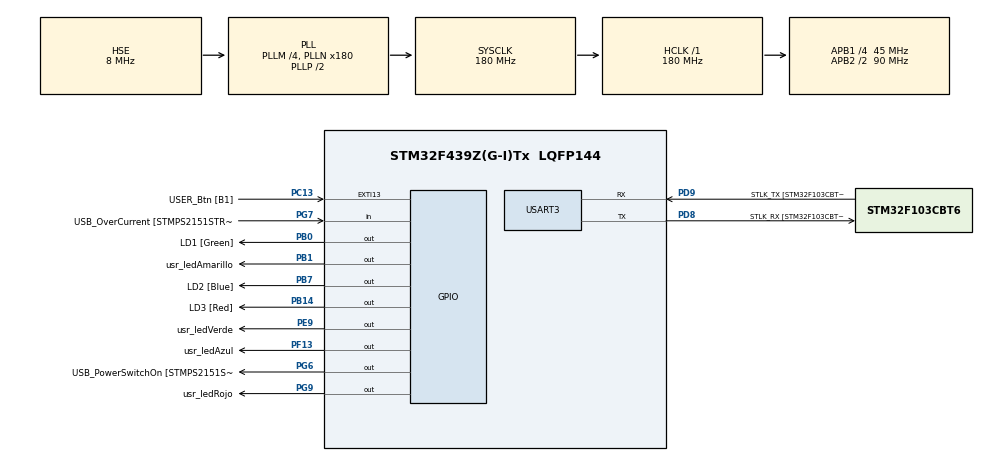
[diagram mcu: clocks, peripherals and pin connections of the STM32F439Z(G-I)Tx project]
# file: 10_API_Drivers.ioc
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Mcu.Family=STM32F4
Mcu.Name=STM32F439Z(G-I)Tx
Mcu.Package=LQFP144
NVIC.PriorityGroup=NVIC_PRIORITYGROUP_4
PA13.GPIO_Label=TMS
PA13.Mode=Serial_Wire
PA13.Signal=SYS_JTMS-SWDIO
PA14.GPIO_Label=TCK
PA14.Mode=Serial_Wire
PA14.Signal=SYS_JTCK-SWCLK
PB0.GPIO_Label=LD1 [Green]
PB0.Signal=GPIO_Output
PB1.GPIO_Label=usr_ledAmarillo
PB1.Signal=GPIO_Output
PB14.GPIO_Label=LD3 [Red]
PB14.Signal=GPIO_Output
PB7.GPIO_Label=LD2 [Blue]
PB7.Signal=GPIO_Output
PC13.GPIO_Label=USER_Btn [B1]
PC13.Signal=GPXTI13
PC14/OSC32_IN.Mode=LSE-External-Oscillator
PC14/OSC32_IN.Signal=RCC_OSC32_IN
PC15/OSC32_OUT.Mode=LSE-External-Oscillator
PC15/OSC32_OUT.Signal=RCC_OSC32_OUT
PD8.GPIO_Label=STLK_RX [STM32F103CBT6_PA3]
PD8.Mode=Asynchronous
PD8.Signal=USART3_TX
PD9.GPIO_Label=STLK_TX [STM32F103CBT6_PA2]
PD9.Mode=Asynchronous
PD9.Signal=USART3_RX
PE9.GPIO_Label=usr_ledVerde
PE9.Signal=GPIO_Output
PF13.GPIO_Label=usr_ledAzul
PF13.Signal=GPIO_Output
PG6.GPIO_Label=USB_PowerSwitchOn [STMPS2151STR_EN]
PG6.Signal=GPIO_Output
PG7.GPIO_Label=USB_OverCurrent [STMPS2151STR_FAULT]
PG7.Signal=GPIO_Input
PG9.GPIO_Label=usr_ledRojo
PG9.Signal=GPIO_Output
PH0/OSC_IN.GPIO_Label=MCO [STM32F103CBT6_PA8]
PH0/OSC_IN.Mode=HSE-External-Oscillator
PH0/OSC_IN.Signal=RCC_OSC_IN
PH1/OSC_OUT.Mode=HSE-External-Oscillator
PH1/OSC_OUT.Signal=RCC_OSC_OUT
ProjectManager.HeapSize=0x200
ProjectManager.StackSize=0x400
ProjectManager.TargetToolchain=STM32CubeIDE
RCC.48MHZClocksFreq_Value=51428571.428571425
RCC.AHBFreq_Value=180000000
RCC.APB1CLKDivider=RCC_HCLK_DIV4
RCC.APB1Freq_Value=45000000
RCC.APB1TimFreq_Value=90000000
RCC.APB2CLKDivider=RCC_HCLK_DIV2
RCC.APB2Freq_Value=90000000
RCC.APB2TimFreq_Value=180000000
RCC.CortexFreq_Value=180000000
RCC.HCLKFreq_Value=180000000
RCC.HSE_VALUE=8000000
RCC.HSI_VALUE=16000000
RCC.PLLM=4
RCC.PLLMUL=RCC_PLL_MUL9
RCC.PLLN=180
RCC.PLLQ=7
RCC.PLLSourceVirtual=RCC_PLLSOURCE_HSE
RCC.PRESCALERUSB=RCC_USBCLKSOURCE_PLL_DIV1_5
RCC.SYSCLKFreq_VALUE=180000000
RCC.SYSCLKSource=RCC_SYSCLKSOURCE_PLLCLK
RCC.SYSCLKSourceVirtual=RCC_SYSCLKSOURCE_PLLCLK
RCC.USBFreq_Value=48000000
RCC.VCOOutputFreq_Value=360000000
USART3.VirtualMode=VM_ASYNC
board=NUCLEO-F439ZI

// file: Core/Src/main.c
/* USER CODE BEGIN Header */
/**
  ******************************************************************************
  * @file           : main.c
  * @brief          : Main program body
  ******************************************************************************
  * @attention
  *
  * Copyright (c) 2026 STMicroelectronics.
  * All rights reserved.
  *
  * This software is licensed under terms that can be found in the LICENSE file
  * in the root directory of this software component.
  * If no LICENSE file comes with this software, it is provided AS-IS.
  *
  ******************************************************************************
  */
/* USER CODE END Header */
#include "main.h"

/* USER CODE BEGIN Includes */
#include "API_delay.h"
#include "API_led.h"
#include <stdio.h>
#include <string.h>
/* USER CODE END Includes */

/* USER CODE BEGIN PTD */

//Usamos etiquetas para evitar hardcodear
#define delay1 250
#define delay4 500
#define delayUSART 1000
/* USER CODE END PTD */

UART_HandleTypeDef huart3;

/* USER CODE BEGIN PV */

//-----------Definicion de Instancias--------------

// Definimos los objetos LED (Abstracción Genérica)
led_t ledRojo = {GPIOG, GPIO_PIN_9, false};
led_t ledAmarillo = {GPIOB, GPIO_PIN_1};
led_t ledVerde  = {GPIOE, GPIO_PIN_9,  false};
led_t ledAzul  = {GPIOF, GPIO_PIN_13, false};

// Definimos los objetos de retardo (No bloqueantes)
delay_t delayVerde;
delay_t delayAzul;
delay_t delayUART;

/* USER CODE END PV */

void SystemClock_Config(void);
static void MX_GPIO_Init(void);
static void MX_USART3_UART_Init(void);
/* USER CODE BEGIN PFP */

void Debug_Log(const char *msg);

/* USER CODE END PFP */

/* USER CODE BEGIN 0 */

/**
 * @brief Envía un mensaje por UART3 de forma simplificada.
 * @param msg Cadena de texto a transmitir.
 */
void Debug_Log(const char *msg) {
    HAL_UART_Transmit(&huart3, (uint8_t*)msg, strlen(msg), 100);
}

/* USER CODE END 0 */

int main(void)
{

  /* MCU Configuration--------------------------------------------------------*/

  /* Reset of all peripherals, Initializes the Flash interface and the Systick. */
  HAL_Init();

  /* Configure the system clock */
  SystemClock_Config();

  /* Initialize all configured peripherals */
  MX_GPIO_Init();
  MX_USART3_UART_Init();
  /* USER CODE BEGIN 2 */

  // Inicializamos los retardos con diferentes frecuencias
  	delayInit(&delayVerde, delay1);		//250ms
    delayInit(&delayAzul, delay4);    	//5000ms
    delayInit(&delayUART, delayUSART);   // 1 segundos

    // Mensajes de inicialización del sistema
      Debug_Log("\r\n==================================\r\n");
      Debug_Log("SISTEMA INICIALIZADO\r\n");
      Debug_Log("Proyecto: Creacion de API_Drivers\r\n");
      Debug_Log("Placa: Nucleo-F439ZI\r\n");
      Debug_Log("==================================\r\n");

  /* USER CODE END 2 */

  /* Infinite loop */
  while (1)
  {

    /* USER CODE BEGIN 3 */

	  // Tarea 1: LED Verde
	          if (delayRead(&delayVerde)) {
	              LED_Toggle(&ledVerde);
	          }

	          // Tarea 2: LED Azul
	          if (delayRead(&delayAzul)) {
	              LED_Toggle(&ledAzul);
	          }

	          // Tarea 3: LED Rojo + Mensaje UART
	          if (delayRead(&delayUART)) {
	              LED_Toggle(&ledRojo);
	              Debug_Log("SISTEMA OK: Ciclo de 1 segundo completado\r\n");
	          }
  }
  /* USER CODE END 3 */
}

void SystemClock_Config(void)
{
  RCC_OscInitTypeDef RCC_OscInitStruct = {0};
  RCC_ClkInitTypeDef RCC_ClkInitStruct = {0};

  /** Configure the main internal regulator output voltage
  */
  __HAL_RCC_PWR_CLK_ENABLE();
  __HAL_PWR_VOLTAGESCALING_CONFIG(PWR_REGULATOR_VOLTAGE_SCALE1);

  /** Initializes the RCC Oscillators according to the specified parameters
  * in the RCC_OscInitTypeDef structure.
  */
  RCC_OscInitStruct.OscillatorType = RCC_OSCILLATORTYPE_HSE;
  RCC_OscInitStruct.HSEState = RCC_HSE_ON;
  RCC_OscInitStruct.PLL.PLLState = RCC_PLL_ON;
  RCC_OscInitStruct.PLL.PLLSource = RCC_PLLSOURCE_HSE;
  RCC_OscInitStruct.PLL.PLLM = 4;
  RCC_OscInitStruct.PLL.PLLN = 180;
  RCC_OscInitStruct.PLL.PLLP = RCC_PLLP_DIV2;
  RCC_OscInitStruct.PLL.PLLQ = 7;
  if (HAL_RCC_OscConfig(&RCC_OscInitStruct) != HAL_OK)
  {
    Error_Handler();
  }

  /** Activate the Over-Drive mode
  */
  if (HAL_PWREx_EnableOverDrive() != HAL_OK)
  {
    Error_Handler();
  }

  /** Initializes the CPU, AHB and APB buses clocks
  */
  RCC_ClkInitStruct.ClockType = RCC_CLOCKTYPE_HCLK|RCC_CLOCKTYPE_SYSCLK
                              |RCC_CLOCKTYPE_PCLK1|RCC_CLOCKTYPE_PCLK2;
  RCC_ClkInitStruct.SYSCLKSource = RCC_SYSCLKSOURCE_PLLCLK;
  RCC_ClkInitStruct.AHBCLKDivider = RCC_SYSCLK_DIV1;
  RCC_ClkInitStruct.APB1CLKDivider = RCC_HCLK_DIV4;
  RCC_ClkInitStruct.APB2CLKDivider = RCC_HCLK_DIV2;

  if (HAL_RCC_ClockConfig(&RCC_ClkInitStruct, FLASH_LATENCY_5) != HAL_OK)
  {
    Error_Handler();
  }
}

static void MX_USART3_UART_Init(void)
{

  huart3.Instance = USART3;
  huart3.Init.BaudRate = 115200;
  huart3.Init.WordLength = UART_WORDLENGTH_8B;
  huart3.Init.StopBits = UART_STOPBITS_1;
  huart3.Init.Parity = UART_PARITY_NONE;
  huart3.Init.Mode = UART_MODE_TX_RX;
  huart3.Init.HwFlowCtl = UART_HWCONTROL_NONE;
  huart3.Init.OverSampling = UART_OVERSAMPLING_16;
  if (HAL_UART_Init(&huart3) != HAL_OK)
  {
    Error_Handler();
  }

}

static void MX_GPIO_Init(void)
{
  GPIO_InitTypeDef GPIO_InitStruct = {0};

  /* GPIO Ports Clock Enable */
  __HAL_RCC_GPIOC_CLK_ENABLE();
  __HAL_RCC_GPIOH_CLK_ENABLE();
  __HAL_RCC_GPIOB_CLK_ENABLE();
  __HAL_RCC_GPIOF_CLK_ENABLE();
  __HAL_RCC_GPIOE_CLK_ENABLE();
  __HAL_RCC_GPIOD_CLK_ENABLE();
  __HAL_RCC_GPIOG_CLK_ENABLE();
  __HAL_RCC_GPIOA_CLK_ENABLE();

  /*Configure GPIO pin Output Level */
  HAL_GPIO_WritePin(GPIOB, LD1_Pin|usr_ledAmarillo_Pin|LD3_Pin|LD2_Pin, GPIO_PIN_RESET);

  /*Configure GPIO pin Output Level */
  HAL_GPIO_WritePin(usr_ledAzul_GPIO_Port, usr_ledAzul_Pin, GPIO_PIN_RESET);

  /*Configure GPIO pin Output Level */
  HAL_GPIO_WritePin(usr_ledVerde_GPIO_Port, usr_ledVerde_Pin, GPIO_PIN_RESET);

  /*Configure GPIO pin Output Level */
  HAL_GPIO_WritePin(GPIOG, USB_PowerSwitchOn_Pin|usr_ledRojo_Pin, GPIO_PIN_RESET);

  /*Configure GPIO pin : USER_Btn_Pin */
  GPIO_InitStruct.Pin = USER_Btn_Pin;
  GPIO_InitStruct.Mode = GPIO_MODE_IT_RISING;
  GPIO_InitStruct.Pull = GPIO_NOPULL;
  HAL_GPIO_Init(USER_Btn_GPIO_Port, &GPIO_InitStruct);

  /*Configure GPIO pins : LD1_Pin usr_ledAmarillo_Pin LD3_Pin LD2_Pin */
  GPIO_InitStruct.Pin = LD1_Pin|usr_ledAmarillo_Pin|LD3_Pin|LD2_Pin;
  GPIO_InitStruct.Mode = GPIO_MODE_OUTPUT_PP;
  GPIO_InitStruct.Pull = GPIO_NOPULL;
  GPIO_InitStruct.Speed = GPIO_SPEED_FREQ_LOW;
  HAL_GPIO_Init(GPIOB, &GPIO_InitStruct);

  /*Configure GPIO pin : usr_ledAzul_Pin */
  GPIO_InitStruct.Pin = usr_ledAzul_Pin;
  GPIO_InitStruct.Mode = GPIO_MODE_OUTPUT_PP;
  GPIO_InitStruct.Pull = GPIO_NOPULL;
  GPIO_InitStruct.Speed = GPIO_SPEED_FREQ_LOW;
  HAL_GPIO_Init(usr_ledAzul_GPIO_Port, &GPIO_InitStruct);

  /*Configure GPIO pin : usr_ledVerde_Pin */
  GPIO_InitStruct.Pin = usr_ledVerde_Pin;
  GPIO_InitStruct.Mode = GPIO_MODE_OUTPUT_PP;
  GPIO_InitStruct.Pull = GPIO_NOPULL;
  GPIO_InitStruct.Speed = GPIO_SPEED_FREQ_LOW;
  HAL_GPIO_Init(usr_ledVerde_GPIO_Port, &GPIO_InitStruct);

  /*Configure GPIO pins : USB_PowerSwitchOn_Pin usr_ledRojo_Pin */
  GPIO_InitStruct.Pin = USB_PowerSwitchOn_Pin|usr_ledRojo_Pin;
  GPIO_InitStruct.Mode = GPIO_MODE_OUTPUT_PP;
  GPIO_InitStruct.Pull = GPIO_NOPULL;
  GPIO_InitStruct.Speed = GPIO_SPEED_FREQ_LOW;
  HAL_GPIO_Init(GPIOG, &GPIO_InitStruct);

  /*Configure GPIO pin : USB_OverCurrent_Pin */
  GPIO_InitStruct.Pin = USB_OverCurrent_Pin;
  GPIO_InitStruct.Mode = GPIO_MODE_INPUT;
  GPIO_InitStruct.Pull = GPIO_NOPULL;
  HAL_GPIO_Init(USB_OverCurrent_GPIO_Port, &GPIO_InitStruct);

}

void Error_Handler(void)
{
  __disable_irq();
  while (1)
  {
  }
}
